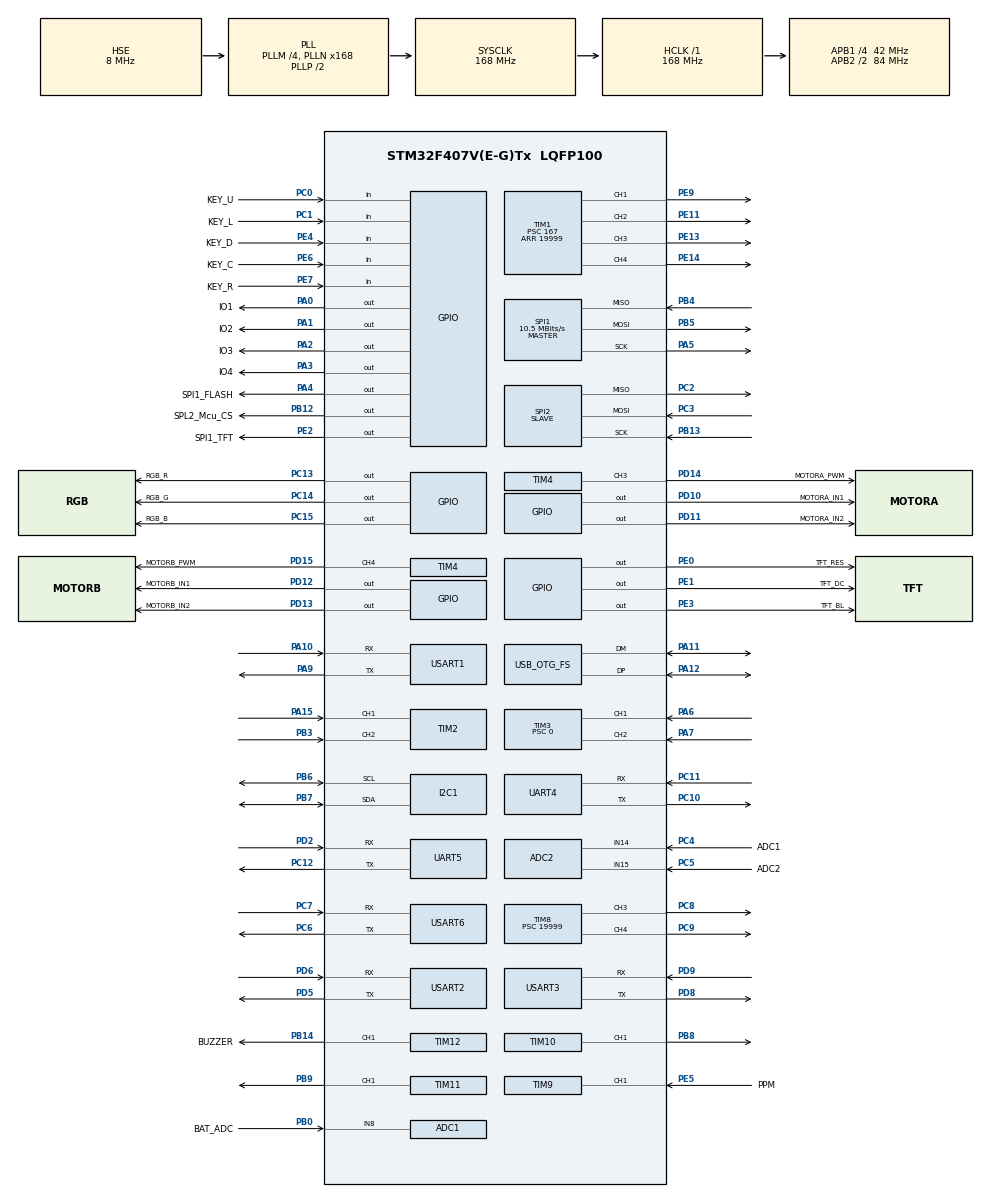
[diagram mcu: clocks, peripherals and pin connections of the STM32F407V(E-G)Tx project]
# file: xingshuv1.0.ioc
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ADC1.Channel-0\#ChannelRegularConversion=ADC_CHANNEL_8
ADC1.ClockPrescaler=ADC_CLOCK_SYNC_PCLK_DIV4
ADC1.ContinuousConvMode=ENABLE
ADC1.DMAContinuousRequests=ENABLE
ADC1.DiscontinuousConvMode=DISABLE
ADC1.NbrOfConversion=1
ADC1.NbrOfConversionFlag=1
ADC1.Rank-0\#ChannelRegularConversion=1
ADC1.SamplingTime-0\#ChannelRegularConversion=ADC_SAMPLETIME_3CYCLES
ADC1.master=1
ADC2.Channel-1\#ChannelRegularConversion=ADC_CHANNEL_15
ADC2.ClockPrescaler=ADC_CLOCK_SYNC_PCLK_DIV4
ADC2.DMAContinuousRequests=ENABLE
ADC2.NbrOfConversionFlag=1
ADC2.Rank-1\#ChannelRegularConversion=1
ADC2.SamplingTime-1\#ChannelRegularConversion=ADC_SAMPLETIME_3CYCLES
Dma.ADC1.12.Direction=DMA_PERIPH_TO_MEMORY
Dma.ADC1.12.FIFOMode=DMA_FIFOMODE_DISABLE
Dma.ADC1.12.Instance=DMA2_Stream0
Dma.ADC1.12.MemDataAlignment=DMA_MDATAALIGN_HALFWORD
Dma.ADC1.12.MemInc=DMA_MINC_ENABLE
Dma.ADC1.12.Mode=DMA_CIRCULAR
Dma.ADC1.12.PeriphDataAlignment=DMA_PDATAALIGN_HALFWORD
Dma.ADC1.12.PeriphInc=DMA_PINC_DISABLE
Dma.ADC1.12.Priority=DMA_PRIORITY_LOW
Dma.ADC2.13.Direction=DMA_PERIPH_TO_MEMORY
Dma.ADC2.13.FIFOMode=DMA_FIFOMODE_DISABLE
Dma.ADC2.13.Instance=DMA2_Stream3
Dma.ADC2.13.MemDataAlignment=DMA_MDATAALIGN_HALFWORD
Dma.ADC2.13.MemInc=DMA_MINC_ENABLE
Dma.ADC2.13.Mode=DMA_CIRCULAR
Dma.ADC2.13.PeriphDataAlignment=DMA_PDATAALIGN_HALFWORD
Dma.ADC2.13.PeriphInc=DMA_PINC_DISABLE
Dma.ADC2.13.Priority=DMA_PRIORITY_LOW
Dma.Request0=UART4_RX
Dma.Request1=UART4_TX
Dma.Request10=USART6_RX
Dma.Request11=USART6_TX
Dma.Request12=ADC1
Dma.Request13=ADC2
Dma.Request2=UART5_RX
Dma.Request3=UART5_TX
Dma.Request4=USART1_RX
Dma.Request5=USART1_TX
Dma.Request6=USART2_RX
Dma.Request7=USART2_TX
Dma.Request8=USART3_RX
Dma.Request9=USART3_TX
Dma.UART4_RX.0.Direction=DMA_PERIPH_TO_MEMORY
Dma.UART4_RX.0.FIFOMode=DMA_FIFOMODE_DISABLE
Dma.UART4_RX.0.Instance=DMA1_Stream2
Dma.UART4_RX.0.MemDataAlignment=DMA_MDATAALIGN_BYTE
Dma.UART4_RX.0.MemInc=DMA_MINC_ENABLE
Dma.UART4_RX.0.Mode=DMA_NORMAL
Dma.UART4_RX.0.PeriphDataAlignment=DMA_PDATAALIGN_BYTE
Dma.UART4_RX.0.PeriphInc=DMA_PINC_DISABLE
Dma.UART4_RX.0.Priority=DMA_PRIORITY_LOW
Dma.UART4_TX.1.Direction=DMA_MEMORY_TO_PERIPH
Dma.UART4_TX.1.FIFOMode=DMA_FIFOMODE_DISABLE
Dma.UART4_TX.1.Instance=DMA1_Stream4
Dma.UART4_TX.1.MemDataAlignment=DMA_MDATAALIGN_BYTE
Dma.UART4_TX.1.MemInc=DMA_MINC_ENABLE
Dma.UART4_TX.1.Mode=DMA_NORMAL
Dma.UART4_TX.1.PeriphDataAlignment=DMA_PDATAALIGN_BYTE
Dma.UART4_TX.1.PeriphInc=DMA_PINC_DISABLE
Dma.UART4_TX.1.Priority=DMA_PRIORITY_LOW
Dma.UART5_RX.2.Direction=DMA_PERIPH_TO_MEMORY
Dma.UART5_RX.2.FIFOMode=DMA_FIFOMODE_DISABLE
Dma.UART5_RX.2.Instance=DMA1_Stream0
Dma.UART5_RX.2.MemDataAlignment=DMA_MDATAALIGN_BYTE
Dma.UART5_RX.2.MemInc=DMA_MINC_ENABLE
Dma.UART5_RX.2.Mode=DMA_NORMAL
Dma.UART5_RX.2.PeriphDataAlignment=DMA_PDATAALIGN_BYTE
Dma.UART5_RX.2.PeriphInc=DMA_PINC_DISABLE
Dma.UART5_RX.2.Priority=DMA_PRIORITY_LOW
Dma.UART5_TX.3.Direction=DMA_MEMORY_TO_PERIPH
Dma.UART5_TX.3.FIFOMode=DMA_FIFOMODE_DISABLE
Dma.UART5_TX.3.Instance=DMA1_Stream7
Dma.UART5_TX.3.MemDataAlignment=DMA_MDATAALIGN_BYTE
Dma.UART5_TX.3.MemInc=DMA_MINC_ENABLE
Dma.UART5_TX.3.Mode=DMA_NORMAL
Dma.UART5_TX.3.PeriphDataAlignment=DMA_PDATAALIGN_BYTE
Dma.UART5_TX.3.PeriphInc=DMA_PINC_DISABLE
Dma.UART5_TX.3.Priority=DMA_PRIORITY_LOW
Dma.USART1_RX.4.Direction=DMA_PERIPH_TO_MEMORY
Dma.USART1_RX.4.FIFOMode=DMA_FIFOMODE_DISABLE
Dma.USART1_RX.4.Instance=DMA2_Stream2
Dma.USART1_RX.4.MemDataAlignment=DMA_MDATAALIGN_BYTE
Dma.USART1_RX.4.MemInc=DMA_MINC_ENABLE
Dma.USART1_RX.4.Mode=DMA_NORMAL
Dma.USART1_RX.4.PeriphDataAlignment=DMA_PDATAALIGN_BYTE
Dma.USART1_RX.4.PeriphInc=DMA_PINC_DISABLE
Dma.USART1_RX.4.Priority=DMA_PRIORITY_LOW
Dma.USART1_TX.5.Direction=DMA_MEMORY_TO_PERIPH
Dma.USART1_TX.5.FIFOMode=DMA_FIFOMODE_DISABLE
Dma.USART1_TX.5.Instance=DMA2_Stream7
Dma.USART1_TX.5.MemDataAlignment=DMA_MDATAALIGN_BYTE
Dma.USART1_TX.5.MemInc=DMA_MINC_ENABLE
Dma.USART1_TX.5.Mode=DMA_NORMAL
Dma.USART1_TX.5.PeriphDataAlignment=DMA_PDATAALIGN_BYTE
Dma.USART1_TX.5.PeriphInc=DMA_PINC_DISABLE
Dma.USART1_TX.5.Priority=DMA_PRIORITY_LOW
Dma.USART2_RX.6.Direction=DMA_PERIPH_TO_MEMORY
Dma.USART2_RX.6.FIFOMode=DMA_FIFOMODE_DISABLE
Dma.USART2_RX.6.Instance=DMA1_Stream5
Dma.USART2_RX.6.MemDataAlignment=DMA_MDATAALIGN_BYTE
Dma.USART2_RX.6.MemInc=DMA_MINC_ENABLE
Dma.USART2_RX.6.Mode=DMA_NORMAL
Dma.USART2_RX.6.PeriphDataAlignment=DMA_PDATAALIGN_BYTE
Dma.USART2_RX.6.PeriphInc=DMA_PINC_DISABLE
Dma.USART2_RX.6.Priority=DMA_PRIORITY_LOW
Dma.USART2_TX.7.Direction=DMA_MEMORY_TO_PERIPH
Dma.USART2_TX.7.FIFOMode=DMA_FIFOMODE_DISABLE
Dma.USART2_TX.7.Instance=DMA1_Stream6
Dma.USART2_TX.7.MemDataAlignment=DMA_MDATAALIGN_BYTE
Dma.USART2_TX.7.MemInc=DMA_MINC_ENABLE
Dma.USART2_TX.7.Mode=DMA_NORMAL
Dma.USART2_TX.7.PeriphDataAlignment=DMA_PDATAALIGN_BYTE
Dma.USART2_TX.7.PeriphInc=DMA_PINC_DISABLE
Dma.USART2_TX.7.Priority=DMA_PRIORITY_LOW
Dma.USART3_RX.8.Direction=DMA_PERIPH_TO_MEMORY
Dma.USART3_RX.8.FIFOMode=DMA_FIFOMODE_DISABLE
Dma.USART3_RX.8.Instance=DMA1_Stream1
Dma.USART3_RX.8.MemDataAlignment=DMA_MDATAALIGN_BYTE
Dma.USART3_RX.8.MemInc=DMA_MINC_ENABLE
Dma.USART3_RX.8.Mode=DMA_NORMAL
Dma.USART3_RX.8.PeriphDataAlignment=DMA_PDATAALIGN_BYTE
Dma.USART3_RX.8.PeriphInc=DMA_PINC_DISABLE
Dma.USART3_RX.8.Priority=DMA_PRIORITY_LOW
Dma.USART3_TX.9.Direction=DMA_MEMORY_TO_PERIPH
Dma.USART3_TX.9.FIFOMode=DMA_FIFOMODE_DISABLE
Dma.USART3_TX.9.Instance=DMA1_Stream3
Dma.USART3_TX.9.MemDataAlignment=DMA_MDATAALIGN_BYTE
Dma.USART3_TX.9.MemInc=DMA_MINC_ENABLE
Dma.USART3_TX.9.Mode=DMA_NORMAL
Dma.USART3_TX.9.PeriphDataAlignment=DMA_PDATAALIGN_BYTE
Dma.USART3_TX.9.PeriphInc=DMA_PINC_DISABLE
Dma.USART3_TX.9.Priority=DMA_PRIORITY_LOW
Dma.USART6_RX.10.Direction=DMA_PERIPH_TO_MEMORY
Dma.USART6_RX.10.FIFOMode=DMA_FIFOMODE_DISABLE
Dma.USART6_RX.10.Instance=DMA2_Stream1
Dma.USART6_RX.10.MemDataAlignment=DMA_MDATAALIGN_BYTE
Dma.USART6_RX.10.MemInc=DMA_MINC_ENABLE
Dma.USART6_RX.10.Mode=DMA_NORMAL
Dma.USART6_RX.10.PeriphDataAlignment=DMA_PDATAALIGN_BYTE
Dma.USART6_RX.10.PeriphInc=DMA_PINC_DISABLE
Dma.USART6_RX.10.Priority=DMA_PRIORITY_LOW
Dma.USART6_TX.11.Direction=DMA_MEMORY_TO_PERIPH
Dma.USART6_TX.11.FIFOMode=DMA_FIFOMODE_DISABLE
Dma.USART6_TX.11.Instance=DMA2_Stream6
Dma.USART6_TX.11.MemDataAlignment=DMA_MDATAALIGN_BYTE
Dma.USART6_TX.11.MemInc=DMA_MINC_ENABLE
Dma.USART6_TX.11.Mode=DMA_NORMAL
Dma.USART6_TX.11.PeriphDataAlignment=DMA_PDATAALIGN_BYTE
Dma.USART6_TX.11.PeriphInc=DMA_PINC_DISABLE
Dma.USART6_TX.11.Priority=DMA_PRIORITY_LOW
FREERTOS.INCLUDE_vTaskDelayUntil=1
FREERTOS.Tasks01=RGBTask,-3,128,RGB_Task_Proc,Default,NULL,Dynamic,NULL,NULL;KeyTask,-3,128,Key_Task_Proc,Default,NULL,Dynamic,NULL,NULL;K210Task,-3,128,K210_Task_Proc,Default,NULL,Dynamic,NULL,NULL;OpenMVTask,-3,128,OpenMV_Task_Proc,Default,NULL,Dynamic,NULL,NULL;SbusTask,-3,128,Sbus_Task_Proc,Default,NULL,Dynamic,NULL,NULL;ServoTask,-3,128,Servo_Task_Proc,Default,NULL,Dynamic,NULL,NULL;MPU6050Task,-3,256,MPU6050_Task_Proc,Default,NULL,Dynamic,NULL,NULL;PCTask,-3,128,PC_Task_Proc,Default,NULL,Dynamic,NULL,NULL;LCDTask,-3,256,LCD_Task_Proc,Default,NULL,Dynamic,NULL,NULL;BuzzerTask,-3,128,Buzzer_Task_Proc,Default,NULL,Dynamic,NULL,NULL;FlashTask,-3,128,Flash_Task_Proc,Default,NULL,Dynamic,NULL,NULL;MotorTask,-3,128,Motor_Task_Proc,Default,NULL,Dynamic,NULL,NULL;EncoderTask,-3,128,Encoder_Task_Proc,Default,NULL,Dynamic,NULL,NULL;BleTask,-3,128,Ble_Task_Proc,Default,NULL,Dynamic,NULL,NULL
FREERTOS.configGENERATE_RUN_TIME_STATS=1
FREERTOS.configUSE_APPLICATION_TASK_TAG=1
FREERTOS.configUSE_STATS_FORMATTING_FUNCTIONS=1
FREERTOS.configUSE_TIMERS=1
FREERTOS.configUSE_TRACE_FACILITY=1
I2C1.I2C_Mode=I2C_Standard
Mcu.Family=STM32F4
Mcu.Name=STM32F407V(E-G)Tx
Mcu.Package=LQFP100
NVIC.ADC_IRQn=true\:5\:0\:false\:false\:true\:true\:true\:true\:true
NVIC.DMA1_Stream3_IRQn=true\:5\:0\:false\:false\:true\:true\:false\:true\:true
NVIC.DMA1_Stream4_IRQn=true\:5\:0\:false\:false\:true\:true\:false\:true\:true
NVIC.DMA1_Stream6_IRQn=true\:5\:0\:false\:false\:true\:true\:false\:true\:true
NVIC.DMA1_Stream7_IRQn=true\:5\:0\:false\:false\:true\:true\:false\:true\:true
NVIC.DMA2_Stream0_IRQn=true\:5\:0\:false\:false\:true\:true\:false\:true\:true
NVIC.DMA2_Stream3_IRQn=true\:5\:0\:false\:false\:true\:true\:false\:true\:true
NVIC.DMA2_Stream6_IRQn=true\:5\:0\:false\:false\:true\:true\:false\:true\:true
NVIC.DMA2_Stream7_IRQn=true\:5\:0\:false\:false\:true\:true\:false\:true\:true
NVIC.I2C1_ER_IRQn=true\:5\:0\:false\:false\:true\:true\:true\:true\:true
NVIC.I2C1_EV_IRQn=true\:5\:0\:false\:false\:true\:true\:true\:true\:true
NVIC.PriorityGroup=NVIC_PRIORITYGROUP_4
NVIC.SPI1_IRQn=true\:5\:0\:false\:false\:true\:true\:true\:true\:true
NVIC.SPI2_IRQn=true\:5\:0\:false\:false\:true\:true\:true\:true\:true
NVIC.TIM1_BRK_TIM9_IRQn=true\:5\:0\:false\:false\:true\:true\:true\:true\:true
NVIC.TIM1_CC_IRQn=true\:5\:0\:false\:false\:true\:true\:true\:true\:true
NVIC.TIM3_IRQn=true\:5\:0\:false\:false\:true\:true\:true\:true\:true
NVIC.TIM6_DAC_IRQn=true\:15\:0\:false\:false\:true\:false\:false\:true\:true
NVIC.TIM7_IRQn=true\:5\:0\:false\:false\:true\:true\:true\:true\:true
NVIC.TIM8_UP_TIM13_IRQn=true\:5\:0\:false\:false\:true\:true\:true\:true\:true
NVIC.TimeBase=TIM6_DAC_IRQn
NVIC.TimeBaseIP=TIM6
NVIC.UART4_IRQn=true\:5\:0\:false\:false\:true\:true\:true\:true\:true
NVIC.UART5_IRQn=true\:5\:0\:false\:false\:true\:true\:true\:true\:true
NVIC.USART1_IRQn=true\:5\:0\:false\:false\:true\:true\:true\:true\:true
NVIC.USART2_IRQn=true\:5\:0\:false\:false\:true\:true\:true\:true\:true
NVIC.USART3_IRQn=true\:5\:0\:false\:false\:true\:true\:true\:true\:true
NVIC.USART6_IRQn=true\:5\:0\:false\:false\:true\:true\:true\:true\:true
PA0-WKUP.GPIO_Label=IO1
PA0-WKUP.Signal=GPIO_Output
PA1.GPIO_Label=IO2
PA1.Signal=GPIO_Output
PA10.Mode=Asynchronous
PA10.Signal=USART1_RX
PA11.Mode=Device_Only
PA11.Signal=USB_OTG_FS_DM
PA12.Mode=Device_Only
PA12.Signal=USB_OTG_FS_DP
PA13.Mode=Serial_Wire
PA13.Signal=SYS_JTMS-SWDIO
PA14.Mode=Serial_Wire
PA14.Signal=SYS_JTCK-SWCLK
PA15.Signal=S_TIM2_CH1_ETR
PA2.GPIO_Label=IO3
PA2.Signal=GPIO_Output
PA3.GPIO_Label=IO4
PA3.GPIO_Speed=GPIO_SPEED_FREQ_VERY_HIGH
PA3.Signal=GPIO_Output
PA4.GPIO_Label=SPI1_FLASH
PA4.Signal=GPIO_Output
PA5.Mode=Full_Duplex_Master
PA5.Signal=SPI1_SCK
PA6.Signal=S_TIM3_CH1
PA7.Signal=S_TIM3_CH2
PA9.Mode=Asynchronous
PA9.Signal=USART1_TX
PB0.GPIO_Label=BAT_ADC
PB0.Signal=ADCx_IN8
PB12.GPIO_Label=SPL2_Mcu_CS
PB12.Signal=GPIO_Output
PB13.Mode=Full_Duplex_Slave
PB13.Signal=SPI2_SCK
PB14.GPIO_Label=BUZZER
PB14.Signal=S_TIM12_CH1
PB3.Signal=S_TIM2_CH2
PB4.Mode=Full_Duplex_Master
PB4.Signal=SPI1_MISO
PB5.Mode=Full_Duplex_Master
PB5.Signal=SPI1_MOSI
PB6.Mode=I2C
PB6.Signal=I2C1_SCL
PB7.Mode=I2C
PB7.Signal=I2C1_SDA
PB8.Signal=S_TIM10_CH1
PB9.Signal=S_TIM11_CH1
PC0.GPIO_Label=KEY_U
PC0.GPIO_PuPd=GPIO_PULLUP
PC0.Signal=GPIO_Input
PC1.GPIO_Label=KEY_L
PC1.GPIO_PuPd=GPIO_PULLUP
PC1.Signal=GPIO_Input
PC10.Mode=Asynchronous
PC10.Signal=UART4_TX
PC11.Mode=Asynchronous
PC11.Signal=UART4_RX
PC12.Mode=Asynchronous
PC12.Signal=UART5_TX
PC13-ANTI_TAMP.GPIO_Label=RGB_R
PC13-ANTI_TAMP.GPIO_PuPd=GPIO_NOPULL
PC13-ANTI_TAMP.Signal=GPIO_Output
PC14-OSC32_IN.GPIO_Label=RGB_G
PC14-OSC32_IN.GPIO_PuPd=GPIO_NOPULL
PC14-OSC32_IN.Signal=GPIO_Output
PC15-OSC32_OUT.GPIO_Label=RGB_B
PC15-OSC32_OUT.GPIO_PuPd=GPIO_NOPULL
PC15-OSC32_OUT.Signal=GPIO_Output
PC2.Mode=Full_Duplex_Slave
PC2.Signal=SPI2_MISO
PC3.Mode=Full_Duplex_Slave
PC3.Signal=SPI2_MOSI
PC4.GPIO_Label=ADC1
PC4.Signal=ADCx_IN14
PC5.GPIO_Label=ADC2
PC5.Signal=ADCx_IN15
PC6.Mode=Asynchronous
PC6.Signal=USART6_TX
PC7.Mode=Asynchronous
PC7.Signal=USART6_RX
PC8.Signal=S_TIM8_CH3
PC9.Signal=S_TIM8_CH4
PD10.GPIO_Label=MOTORA_IN1
PD10.Signal=GPIO_Output
PD11.GPIO_Label=MOTORA_IN2
PD11.Signal=GPIO_Output
PD12.GPIO_Label=MOTORB_IN1
PD12.Signal=GPIO_Output
PD13.GPIO_Label=MOTORB_IN2
PD13.Signal=GPIO_Output
PD14.GPIO_Label=MOTORA_PWM
PD14.Signal=S_TIM4_CH3
PD15.GPIO_Label=MOTORB_PWM
PD15.Signal=S_TIM4_CH4
PD2.Mode=Asynchronous
PD2.Signal=UART5_RX
PD5.Mode=Asynchronous
PD5.Signal=USART2_TX
PD6.Mode=Asynchronous
PD6.Signal=USART2_RX
PD8.Mode=Asynchronous
PD8.Signal=USART3_TX
PD9.Mode=Asynchronous
PD9.Signal=USART3_RX
PE0.GPIO_Label=TFT_RES
PE0.Signal=GPIO_Output
PE1.GPIO_Label=TFT_DC
PE1.Signal=GPIO_Output
PE11.Signal=S_TIM1_CH2
PE13.Signal=S_TIM1_CH3
PE14.Signal=S_TIM1_CH4
PE2.GPIO_Label=SPI1_TFT
PE2.Signal=GPIO_Output
PE3.GPIO_Label=TFT_BL
PE3.Signal=GPIO_Output
PE4.GPIO_Label=KEY_D
PE4.GPIO_PuPd=GPIO_PULLUP
PE4.Signal=GPIO_Input
PE5.GPIO_Label=PPM
PE5.Signal=S_TIM9_CH1
PE6.GPIO_Label=KEY_C
PE6.GPIO_PuPd=GPIO_PULLUP
PE6.Signal=GPIO_Input
PE7.GPIO_Label=KEY_R
PE7.GPIO_PuPd=GPIO_PULLUP
PE7.Signal=GPIO_Input
PE9.Signal=S_TIM1_CH1
PH0-OSC_IN.Mode=HSE-External-Oscillator
PH0-OSC_IN.Signal=RCC_OSC_IN
PH1-OSC_OUT.Mode=HSE-External-Oscillator
PH1-OSC_OUT.Signal=RCC_OSC_OUT
ProjectManager.HeapSize=0x200
ProjectManager.StackSize=0x400
ProjectManager.TargetToolchain=MDK-ARM V5.32
RCC.48MHZClocksFreq_Value=48000000
RCC.AHBFreq_Value=168000000
RCC.APB1CLKDivider=RCC_HCLK_DIV4
RCC.APB1Freq_Value=42000000
RCC.APB1TimFreq_Value=84000000
RCC.APB2CLKDivider=RCC_HCLK_DIV2
RCC.APB2Freq_Value=84000000
RCC.APB2TimFreq_Value=168000000
RCC.CortexFreq_Value=168000000
RCC.HCLKFreq_Value=168000000
RCC.HSE_VALUE=8000000
RCC.HSI_VALUE=16000000
RCC.LSE_VALUE=32768
RCC.PLLM=4
RCC.PLLN=168
RCC.PLLQ=7
RCC.SYSCLKFreq_VALUE=168000000
RCC.SYSCLKSource=RCC_SYSCLKSOURCE_PLLCLK
RCC.VCOOutputFreq_Value=336000000
SH.ADCx_IN14.0=ADC2_IN14,IN14
SH.ADCx_IN15.0=ADC2_IN15,IN15
SH.ADCx_IN8.0=ADC1_IN8,IN8
SH.S_TIM10_CH1.0=TIM10_CH1,PWM Generation1 CH1
SH.S_TIM11_CH1.0=TIM11_CH1,PWM Generation1 CH1
SH.S_TIM12_CH1.0=TIM12_CH1,PWM Generation1 CH1
SH.S_TIM1_CH1.0=TIM1_CH1,PWM Generation1 CH1
SH.S_TIM1_CH2.0=TIM1_CH2,PWM Generation2 CH2
SH.S_TIM1_CH3.0=TIM1_CH3,PWM Generation3 CH3
SH.S_TIM1_CH4.0=TIM1_CH4,PWM Generation4 CH4
SH.S_TIM2_CH1_ETR.0=TIM2_CH1,Encoder_Interface
SH.S_TIM2_CH2.0=TIM2_CH2,Encoder_Interface
SH.S_TIM3_CH1.0=TIM3_CH1,Encoder_Interface
SH.S_TIM3_CH2.0=TIM3_CH2,Encoder_Interface
SH.S_TIM4_CH3.0=TIM4_CH3,PWM Generation3 CH3
SH.S_TIM4_CH4.0=TIM4_CH4,PWM Generation4 CH4
SH.S_TIM8_CH3.0=TIM8_CH3,PWM Generation3 CH3
SH.S_TIM8_CH4.0=TIM8_CH4,PWM Generation4 CH4
SH.S_TIM9_CH1.0=TIM9_CH1,Input_Capture1_from_TI1
SH.S_TIM9_CH1.1=TIM9_CH1,TriggerSource_TI1FP1
SPI1.BaudRatePrescaler=SPI_BAUDRATEPRESCALER_8
SPI1.CalculateBaudRate=10.5 MBits/s
SPI1.Direction=SPI_DIRECTION_2LINES
SPI1.Mode=SPI_MODE_MASTER
SPI1.VirtualType=VM_MASTER
SPI2.CRCCalculation=SPI_CRCCALCULATION_DISABLE
SPI2.Direction=SPI_DIRECTION_2LINES
SPI2.Mode=SPI_MODE_SLAVE
SPI2.VirtualType=VM_SLAVE
TIM1.Channel-PWM\ Generation1\ CH1=TIM_CHANNEL_1
TIM1.Channel-PWM\ Generation2\ CH2=TIM_CHANNEL_2
TIM1.Channel-PWM\ Generation3\ CH3=TIM_CHANNEL_3
TIM1.Channel-PWM\ Generation4\ CH4=TIM_CHANNEL_4
TIM1.Period=19999
TIM1.Prescaler=167
TIM10.Channel=TIM_CHANNEL_1
TIM10.Period=19999
TIM10.Prescaler=167
TIM11.Channel=TIM_CHANNEL_1
TIM11.Period=19999
TIM11.Prescaler=167
TIM12.Channel-PWM\ Generation1\ CH1=TIM_CHANNEL_1
TIM12.Prescaler=167
TIM13.Period=999
TIM13.Prescaler=167
TIM2.AutoReloadPreload=TIM_AUTORELOAD_PRELOAD_ENABLE
TIM2.EncoderMode=TIM_ENCODERMODE_TI12
TIM3.AutoReloadPreload=TIM_AUTORELOAD_PRELOAD_ENABLE
TIM3.EncoderMode=TIM_ENCODERMODE_TI12
TIM3.Period=65535
TIM3.Prescaler=0
TIM4.Channel-PWM\ Generation3\ CH3=TIM_CHANNEL_3
TIM4.Channel-PWM\ Generation4\ CH4=TIM_CHANNEL_4
TIM4.Period=9999
TIM4.Prescaler=83
TIM7.Period=99
TIM7.Prescaler=83
TIM8.Channel-PWM\ Generation3\ CH3=TIM_CHANNEL_3
TIM8.Channel-PWM\ Generation4\ CH4=TIM_CHANNEL_4
TIM8.Prescaler=19999
TIM9.AutoReloadPreload=TIM_AUTORELOAD_PRELOAD_ENABLE
TIM9.Channel-Input_Capture1_from_TI1=TIM_CHANNEL_1
TIM9.Channel-Input_Capture2_from_TI1_63=TIM_CHANNEL_2
TIM9.Prescaler=167
UART4.VirtualMode=Asynchronous
UART5.VirtualMode=Asynchronous
USART1.VirtualMode=VM_ASYNC
USART2.VirtualMode=VM_ASYNC
USART3.VirtualMode=VM_ASYNC
USART6.VirtualMode=VM_ASYNC
USB_OTG_FS.VirtualMode=Device_Only
VP_FREERTOS_VS_CMSIS_V1.Mode=CMSIS_V1
VP_SYS_VS_tim6.Mode=TIM6
VP_TIM10_VS_ClockSourceINT.Mode=Enable_Timer
VP_TIM11_VS_ClockSourceINT.Mode=Enable_Timer
VP_TIM13_VS_ClockSourceINT.Mode=Enable_Timer
VP_TIM7_VS_ClockSourceINT.Mode=Enable_Timer
VP_TIM9_VS_ControllerModeReset.Mode=Reset Mode
VP_TIM9_VS_indirect_ch1.Mode=Input_Capture2_from_TI1_63
board=custom

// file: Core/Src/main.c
/* USER CODE BEGIN Header */
/**
  ******************************************************************************
  * @file           : main.c
  * @brief          : Main program body
  ******************************************************************************
  * @attention
  *
  * Copyright (c) 2023 STMicroelectronics.
  * All rights reserved.
  *
  * This software is licensed under terms that can be found in the LICENSE file
  * in the root directory of this software component.
  * If no LICENSE file comes with this software, it is provided AS-IS.
  *
  ******************************************************************************
  */
/* USER CODE END Header */
#include "main.h"
#include "cmsis_os.h"
#include "adc.h"
#include "dma.h"
#include "i2c.h"
#include "spi.h"
#include "tim.h"
#include "usart.h"
#include "usb_otg.h"
#include "gpio.h"

/* USER CODE BEGIN Includes */
#include "lcd_proc.h"
#include "lcd_init.h"
#include "flash_proc.h"
#include "sys.h"
#include "sbus_proc.h"
#include "motor_proc.h"
#include "FreeRTOS.h"
#include "task.h"
#include "openmv_proc.h"
//#include  "trcRecorder.h"
/* USER CODE END Includes */

/* USER CODE BEGIN PM */

//串口接受缓冲
u8 Uart1Rx[MAX_UART_RX_NUM];
u8 Uart2Rx[MAX_UART_RX_NUM];
u8 Uart3Rx[MAX_UART_RX_NUM];
u8 Uart4Rx[MAX_UART_RX_NUM];
u8 Uart5Rx[MAX_UART_RX_NUM];
u8 Uart6Rx[MAX_UART_RX_NUM];

//串口发送缓冲
u8 RunTimeFlag = 0;
u8 TaskListFlag = 0;
char InfoBuffer[1000];
u8 Uart1Tx[1000];
u8 Uart2Tx[MAX_UART_TX_NUM];
u8 Uart3Tx[MAX_UART_TX_NUM];
u8 Uart4Tx[MAX_UART_TX_NUM];
u8 Uart5Tx[MAX_UART_TX_NUM];
u8 Uart6Tx[MAX_UART_TX_NUM];

u32 TIM12Count;       //freertos 时间调度统计
/* USER CODE END PM */

void SystemClock_Config(void);
void MX_FREERTOS_Init(void);

int main(void)
{

  /* MCU Configuration--------------------------------------------------------*/

  /* Reset of all peripherals, Initializes the Flash interface and the Systick. */
  HAL_Init();

  /* Configure the system clock */
  SystemClock_Config();

  /* Initialize all configured peripherals */
  MX_GPIO_Init();
  MX_DMA_Init();
  MX_TIM1_Init();
  MX_TIM2_Init();
  MX_TIM3_Init();
  MX_TIM4_Init();
  MX_TIM7_Init();
  MX_TIM8_Init();
  MX_TIM9_Init();
  MX_I2C1_Init();
  MX_SPI1_Init();
  MX_SPI2_Init();
  MX_UART4_Init();
  MX_UART5_Init();
  MX_USART1_UART_Init();
  MX_USART2_UART_Init();
  MX_USART3_UART_Init();
  MX_TIM10_Init();
  MX_TIM11_Init();
  MX_TIM12_Init();
  MX_USART6_UART_Init();
  MX_ADC1_Init();
  MX_ADC2_Init();
  MX_USB_OTG_FS_PCD_Init();
  MX_TIM13_Init();
  /* USER CODE BEGIN 2 */
//	vTraceEnable(TRC_INIT);          /
 //拉高spi片选
  HAL_GPIO_WritePin(SPI1_FLASH_GPIO_Port, SPI1_FLASH_Pin, GPIO_PIN_SET);
	HAL_GPIO_WritePin(GPIOE,SPI1_TFT_Pin, GPIO_PIN_SET);
	//点亮lcd背屏幕
	HAL_GPIO_WritePin(GPIOE,TFT_BL_Pin, GPIO_PIN_SET);

	//HAL_Delay(100);

//	//LED0=0;
//	LCD_ShowString(30,30,"XCJK",WHITE,BLACK,32,0);
//	LCD_ShowString(30,62,"RTOS",WHITE,BLACK,32,0);

	//串口开启中断
	HAL_UARTEx_ReceiveToIdle_DMA(&huart1, Uart1Rx, MAX_UART_RX_NUM);
	HAL_UARTEx_ReceiveToIdle_DMA(&huart2, Uart2Rx, MAX_UART_RX_NUM);
	HAL_UARTEx_ReceiveToIdle_DMA(&huart3, Uart3Rx, MAX_UART_RX_NUM);
	HAL_UARTEx_ReceiveToIdle_DMA(&huart4, Uart4Rx, MAX_UART_RX_NUM);
	HAL_UARTEx_ReceiveToIdle_DMA(&huart5, Uart5Rx, MAX_UART_RX_NUM);
	HAL_UARTEx_ReceiveToIdle_DMA(&huart6, Uart6Rx, MAX_UART_RX_NUM);
  /* USER CODE END 2 */

  /* Call init function for freertos objects (in freertos.c) */
  MX_FREERTOS_Init();

  /* Start scheduler */
  osKernelStart();
  /* We should never get here as control is now taken by the scheduler */
  /* Infinite loop */
  while (1)
  {

  }
}

void SystemClock_Config(void)
{
  RCC_OscInitTypeDef RCC_OscInitStruct = {0};
  RCC_ClkInitTypeDef RCC_ClkInitStruct = {0};

  /** Configure the main internal regulator output voltage
  */
  __HAL_RCC_PWR_CLK_ENABLE();
  __HAL_PWR_VOLTAGESCALING_CONFIG(PWR_REGULATOR_VOLTAGE_SCALE1);

  /** Initializes the RCC Oscillators according to the specified parameters
  * in the RCC_OscInitTypeDef structure.
  */
  RCC_OscInitStruct.OscillatorType = RCC_OSCILLATORTYPE_HSE;
  RCC_OscInitStruct.HSEState = RCC_HSE_ON;
  RCC_OscInitStruct.PLL.PLLState = RCC_PLL_ON;
  RCC_OscInitStruct.PLL.PLLSource = RCC_PLLSOURCE_HSE;
  RCC_OscInitStruct.PLL.PLLM = 4;
  RCC_OscInitStruct.PLL.PLLN = 168;
  RCC_OscInitStruct.PLL.PLLP = RCC_PLLP_DIV2;
  RCC_OscInitStruct.PLL.PLLQ = 7;
  if (HAL_RCC_OscConfig(&RCC_OscInitStruct) != HAL_OK)
  {
    Error_Handler();
  }

  /** Initializes the CPU, AHB and APB buses clocks
  */
  RCC_ClkInitStruct.ClockType = RCC_CLOCKTYPE_HCLK|RCC_CLOCKTYPE_SYSCLK
                              |RCC_CLOCKTYPE_PCLK1|RCC_CLOCKTYPE_PCLK2;
  RCC_ClkInitStruct.SYSCLKSource = RCC_SYSCLKSOURCE_PLLCLK;
  RCC_ClkInitStruct.AHBCLKDivider = RCC_SYSCLK_DIV1;
  RCC_ClkInitStruct.APB1CLKDivider = RCC_HCLK_DIV4;
  RCC_ClkInitStruct.APB2CLKDivider = RCC_HCLK_DIV2;

  if (HAL_RCC_ClockConfig(&RCC_ClkInitStruct, FLASH_LATENCY_5) != HAL_OK)
  {
    Error_Handler();
  }
}

/* USER CODE BEGIN 4 */

/******************************************************************************
      函数说明：串口中断回调
      入口数据：无
      返回值：  无
******************************************************************************/

void HAL_UARTEx_RxEventCallback(UART_HandleTypeDef *huart, uint16_t Size)
{
	if(huart->Instance == USART1)
	{

		HAL_UART_Transmit_DMA(&huart1, Uart1Rx, Size);
		if(Uart1Rx[0] == 'l' && Uart1Rx[1] == 's')
					TaskListFlag = 1;
		if(Uart1Rx[0] == 't' && Uart1Rx[1] == 's')
					RunTimeFlag = 1;

		HAL_UARTEx_ReceiveToIdle_DMA(&huart1, Uart1Rx, MAX_UART_RX_NUM);
	}
	else if(huart->Instance == USART2)
	{
		HAL_UART_Transmit_DMA(&huart2, Uart2Rx, Size);
		HAL_UARTEx_ReceiveToIdle_DMA(&huart2, Uart2Rx, MAX_UART_RX_NUM);
	}
	else if(huart->Instance == USART3)
	{

		HAL_UART_Transmit_DMA(&huart3, Uart3Rx, Size);
		HAL_UARTEx_ReceiveToIdle_DMA(&huart3, Uart3Rx, MAX_UART_RX_NUM);
	}
	else if(huart->Instance == UART4)
	{
		HAL_UART_Transmit_DMA(&huart4, Uart4Rx, Size);
		HAL_UARTEx_ReceiveToIdle_DMA(&huart4, Uart4Rx, MAX_UART_RX_NUM);
	}
	else if(huart->Instance == UART5)
	{
		HAL_UART_Transmit_DMA(&huart5, Uart5Rx, Size);
		HAL_UARTEx_ReceiveToIdle_DMA(&huart5, Uart5Rx, MAX_UART_RX_NUM);
	}
	else if(huart->Instance == USART6)
	{
		Sbus_Uart6_IDLE_Proc(Size);           //遥控器
		HAL_UARTEx_ReceiveToIdle_DMA(&huart6, Uart6Rx, MAX_UART_RX_NUM);
	}

}

extern u32 TIM7Count;

/* USER CODE END 4 */

void HAL_TIM_PeriodElapsedCallback(TIM_HandleTypeDef *htim)
{
  if (htim->Instance == TIM6) {
    HAL_IncTick();
  }
  /* USER CODE BEGIN Callback 1 */
	if(htim->Instance == TIM13)//FREERTOS 时间统计
	{
	 TIM12Count++;
	}

  /* USER CODE END Callback 1 */
}

void Error_Handler(void)
{
  __disable_irq();
  while (1)
  {
  }
}

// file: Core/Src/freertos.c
/* USER CODE BEGIN Header */
/**
  ******************************************************************************
  * File Name          : freertos.c
  * Description        : Code for freertos applications
  ******************************************************************************
  * @attention
  *
  * Copyright (c) 2023 STMicroelectronics.
  * All rights reserved.
  *
  * This software is licensed under terms that can be found in the LICENSE file
  * in the root directory of this software component.
  * If no LICENSE file comes with this software, it is provided AS-IS.
  *
  ******************************************************************************
  */
/* USER CODE END Header */

#include "FreeRTOS.h"
#include "task.h"
#include "main.h"
#include "cmsis_os.h"

/* USER CODE BEGIN Includes */
//#define portCONFIGURE_TIMER_FOR_RUN_TIME_STATS() ConfigureTimeForRunTimeStats()
//#define portGET_RUN_TIME_COUNTER_VALUE() FreeRTOSRunTimeTicks

#define XC_FREERTOS_MAKE_FLAG //�����־λ ���׽��cube�Ĵ�����Ҫɾ������

/* USER CODE END Includes */

/* USER CODE BEGIN PTD */
#include "tim.h"
//#include "trcConfig.h"
//#include "trcKernelPort.h"
/* USER CODE END PTD */

/* USER CODE BEGIN PD */
extern u32 TIM12Count;
/* USER CODE END PD */

/* USER CODE BEGIN Variables */
extern	osThreadId RGBTaskHandle;
extern	osThreadId BuzzerTaskHandle;
extern	osThreadId FlashTaskHandle;
extern  osThreadId LCDTaskHandle;
extern osThreadId KeyTaskHandle;
extern osThreadId K210TaskHandle;
extern osThreadId OpenMVTaskHandle;
extern osThreadId PCTaskHandle;
extern osThreadId SbusTaskHandle;
extern osThreadId ServoTaskHandle;
extern osThreadId MotorTaskHandle;
extern osThreadId EncoderTaskHandle;
extern osThreadId MPU6050TaskHandle;
extern osThreadId BleTaskHandle;
#ifndef XC_FREERTOS_MAKE_FLAG
/* USER CODE END Variables */
osThreadId RGBTaskHandle;
osThreadId KeyTaskHandle;
osThreadId K210TaskHandle;
osThreadId OpenMVTaskHandle;
osThreadId SbusTaskHandle;
osThreadId ServoTaskHandle;
osThreadId MPU6050TaskHandle;
osThreadId PCTaskHandle;
osThreadId LCDTaskHandle;
osThreadId BuzzerTaskHandle;
osThreadId FlashTaskHandle;
osThreadId MotorTaskHandle;
osThreadId EncoderTaskHandle;
osThreadId BleTaskHandle;

/* USER CODE BEGIN FunctionPrototypes */
#endif
extern void RGB_Task_Proc(void const * argument);
extern void Buzzer_Task_Proc(void const * argument);
extern void Flash_Task_Proc(void const * argument);
extern void LCD_Task_Proc(void const * argument);
extern void Key_Task_Proc(void const * argument);
extern void K210_Task_Proc(void const * argument);
extern void OpenMV_Task_Proc(void const * argument);
extern void PC_Task_Proc(void const * argument);
extern void Sbus_Task_Proc(void const * argument);
extern void Servo_Task_Proc(void const * argument);
extern void Motor_Task_Proc(void const * argument);
extern void Encoder_Task_Proc(void const * argument);
extern void MPU6050_Task_Proc(void const * argument);
extern void Ble_Task_Proc(void const * argument);

void MX_FREERTOS_Init(void); /* (MISRA C 2004 rule 8.1) */

/* GetIdleTaskMemory prototype (linked to static allocation support) */
void vApplicationGetIdleTaskMemory( StaticTask_t **ppxIdleTaskTCBBuffer, StackType_t **ppxIdleTaskStackBuffer, uint32_t *pulIdleTaskStackSize );

/* GetTimerTaskMemory prototype (linked to static allocation support) */
void vApplicationGetTimerTaskMemory( StaticTask_t **ppxTimerTaskTCBBuffer, StackType_t **ppxTimerTaskStackBuffer, uint32_t *pulTimerTaskStackSize );

/* Hook prototypes */
void configureTimerForRunTimeStats(void);
unsigned long getRunTimeCounterValue(void);

#ifndef XC_FREERTOS_MAKE_FLAG
/* USER CODE END FunctionPrototypes */

void RGB_Task_Proc(void const * argument);
void Key_Task_Proc(void const * argument);
void K210_Task_Proc(void const * argument);
void OpenMV_Task_Proc(void const * argument);
void Sbus_Task_Proc(void const * argument);
void Servo_Task_Proc(void const * argument);
void MPU6050_Task_Proc(void const * argument);
void PC_Task_Proc(void const * argument);
void LCD_Task_Proc(void const * argument);
void Buzzer_Task_Proc(void const * argument);
void Flash_Task_Proc(void const * argument);
void Motor_Task_Proc(void const * argument);
void Encoder_Task_Proc(void const * argument);
void Ble_Task_Proc(void const * argument);

void MX_FREERTOS_Init(void); /* (MISRA C 2004 rule 8.1) */

/* GetIdleTaskMemory prototype (linked to static allocation support) */
void vApplicationGetIdleTaskMemory( StaticTask_t **ppxIdleTaskTCBBuffer, StackType_t **ppxIdleTaskStackBuffer, uint32_t *pulIdleTaskStackSize );

/* GetTimerTaskMemory prototype (linked to static allocation support) */
void vApplicationGetTimerTaskMemory( StaticTask_t **ppxTimerTaskTCBBuffer, StackType_t **ppxTimerTaskStackBuffer, uint32_t *pulTimerTaskStackSize );

/* Hook prototypes */
void configureTimerForRunTimeStats(void);
unsigned long getRunTimeCounterValue(void);

/* USER CODE BEGIN 1 */
#endif
/* Functions needed when configGENERATE_RUN_TIME_STATS is on */

//void TaskFunction(void *pvParameters)
//{
//    vTaskSetApplicationTaskTag(NULL, __LINE__); // ���������ǩ
//    // �������������
//}

__weak void configureTimerForRunTimeStats(void)
{
	HAL_TIM_Base_Start_IT(&htim13);
	TIM12Count = 0;
}

__weak unsigned long getRunTimeCounterValue(void)
{
	return TIM12Count;
}
/* USER CODE END 1 */

/* USER CODE BEGIN GET_IDLE_TASK_MEMORY */
static StaticTask_t xIdleTaskTCBBuffer;
static StackType_t xIdleStack[configMINIMAL_STACK_SIZE];

void vApplicationGetIdleTaskMemory( StaticTask_t **ppxIdleTaskTCBBuffer, StackType_t **ppxIdleTaskStackBuffer, uint32_t *pulIdleTaskStackSize )
{
  *ppxIdleTaskTCBBuffer = &xIdleTaskTCBBuffer;
  *ppxIdleTaskStackBuffer = &xIdleStack[0];
  *pulIdleTaskStackSize = configMINIMAL_STACK_SIZE;
  /* place for user code */
}
/* USER CODE END GET_IDLE_TASK_MEMORY */

/* USER CODE BEGIN GET_TIMER_TASK_MEMORY */
static StaticTask_t xTimerTaskTCBBuffer;
static StackType_t xTimerStack[configTIMER_TASK_STACK_DEPTH];

void vApplicationGetTimerTaskMemory( StaticTask_t **ppxTimerTaskTCBBuffer, StackType_t **ppxTimerTaskStackBuffer, uint32_t *pulTimerTaskStackSize )
{
  *ppxTimerTaskTCBBuffer = &xTimerTaskTCBBuffer;
  *ppxTimerTaskStackBuffer = &xTimerStack[0];
  *pulTimerTaskStackSize = configTIMER_TASK_STACK_DEPTH;
  /* place for user code */
}
/* USER CODE END GET_TIMER_TASK_MEMORY */

void MX_FREERTOS_Init(void) {

  /* USER CODE BEGIN RTOS_QUEUES */
  /* add queues, ... */

  printf("rtos loading...........\r\n");
	printf("\\   |   /\r\n");
	printf("-  xcjk  -\r\n");
	printf("/    |   \\\r\n");
  /* USER CODE END RTOS_QUEUES */

  /* Create the thread(s) */
  /* definition and creation of RGBTask */
  osThreadDef(RGBTask, RGB_Task_Proc, osPriorityIdle, 0, 128);
  RGBTaskHandle = osThreadCreate(osThread(RGBTask), NULL);

  /* definition and creation of KeyTask */
  osThreadDef(KeyTask, Key_Task_Proc, osPriorityIdle, 0, 128);
  KeyTaskHandle = osThreadCreate(osThread(KeyTask), NULL);

  /* definition and creation of K210Task */
  osThreadDef(K210Task, K210_Task_Proc, osPriorityIdle, 0, 128);
  K210TaskHandle = osThreadCreate(osThread(K210Task), NULL);

  /* definition and creation of OpenMVTask */
  osThreadDef(OpenMVTask, OpenMV_Task_Proc, osPriorityIdle, 0, 128);
  OpenMVTaskHandle = osThreadCreate(osThread(OpenMVTask), NULL);

  /* definition and creation of SbusTask */
  osThreadDef(SbusTask, Sbus_Task_Proc, osPriorityIdle, 0, 128);
  SbusTaskHandle = osThreadCreate(osThread(SbusTask), NULL);

  /* definition and creation of ServoTask */
  osThreadDef(ServoTask, Servo_Task_Proc, osPriorityIdle, 0, 128);
  ServoTaskHandle = osThreadCreate(osThread(ServoTask), NULL);

  /* definition and creation of MPU6050Task */
  osThreadDef(MPU6050Task, MPU6050_Task_Proc, osPriorityIdle, 0, 256);
  MPU6050TaskHandle = osThreadCreate(osThread(MPU6050Task), NULL);

  /* definition and creation of PCTask */
  osThreadDef(PCTask, PC_Task_Proc, osPriorityIdle, 0, 128);
  PCTaskHandle = osThreadCreate(osThread(PCTask), NULL);

  /* definition and creation of LCDTask */
  osThreadDef(LCDTask, LCD_Task_Proc, osPriorityIdle, 0, 256);
  LCDTaskHandle = osThreadCreate(osThread(LCDTask), NULL);

  /* definition and creation of BuzzerTask */
  osThreadDef(BuzzerTask, Buzzer_Task_Proc, osPriorityIdle, 0, 128);
  BuzzerTaskHandle = osThreadCreate(osThread(BuzzerTask), NULL);

  /* definition and creation of FlashTask */
  osThreadDef(FlashTask, Flash_Task_Proc, osPriorityIdle, 0, 128);
  FlashTaskHandle = osThreadCreate(osThread(FlashTask), NULL);

  /* definition and creation of MotorTask */
  osThreadDef(MotorTask, Motor_Task_Proc, osPriorityIdle, 0, 128);
  MotorTaskHandle = osThreadCreate(osThread(MotorTask), NULL);

  /* definition and creation of EncoderTask */
  osThreadDef(EncoderTask, Encoder_Task_Proc, osPriorityIdle, 0, 128);
  EncoderTaskHandle = osThreadCreate(osThread(EncoderTask), NULL);

  /* definition and creation of BleTask */
  osThreadDef(BleTask, Ble_Task_Proc, osPriorityIdle, 0, 128);
  BleTaskHandle = osThreadCreate(osThread(BleTask), NULL);

  /* USER CODE BEGIN RTOS_THREADS */
  /* add threads, ... */

		if(RGBTaskHandle != NULL)
	{ printf("rgb_task_creat_sucess!\r\n"); }

	if(BuzzerTaskHandle != NULL)
	{ printf("buzzer_task_creat_sucess!\r\n"); }

	if(FlashTaskHandle != NULL)
	{ printf("flash_task_creat_sucess!\r\n"); }

	if(LCDTaskHandle != NULL)
	{ printf("lcd_task_creat_sucess!\r\n"); }

	if(KeyTaskHandle != NULL)
	{ printf("key_task_creat_sucess!\r\n"); }

	if(K210TaskHandle != NULL)
	{ printf("k210_task_creat_sucess!\r\n"); }

	if(OpenMVTaskHandle != NULL)
	{ printf("openmv_task_creat_sucess!\r\n"); }

	if(PCTaskHandle != NULL)
	{ printf("pc_task_creat_sucess!\r\n"); }

	if(SbusTaskHandle != NULL)
	{ printf("sbus_task_creat_sucess!\r\n"); }

	if(ServoTaskHandle != NULL)
	{ printf("servo_task_creat_sucess!\r\n"); }

	if(MotorTaskHandle != NULL)
	{ printf("motor_task_creat_sucess!\r\n"); }    //ָʾ��ӡ�Ƿ�����

	if(EncoderTaskHandle != NULL)
	{ printf("Encoder_task_creat_sucess!\r\n"); }    //ָʾ��ӡ�Ƿ�����

	if(MPU6050TaskHandle != NULL)
	{ printf("MPU6050_task_creat_sucess!\r\n"); }    //ָʾ��ӡ�Ƿ�����

    printf("  /\\_/\\  \r\n");
    printf(" ( o.o ) \r\n");
    printf("  > ^ <  \r\n");
	printf(" �ǳ�ף��ʹ��һ·˳�磡(�Σ�����)   \r\n");
  /* USER CODE END RTOS_THREADS */

}

/* USER CODE BEGIN Header_RGB_Task_Proc */
#ifndef XC_FREERTOS_MAKE_FLAG
/**
  * @brief  Function implementing the RGBTask thread.
  * @param  argument: Not used
  * @retval None
  */
/* USER CODE END Header_RGB_Task_Proc */
void RGB_Task_Proc(void const * argument)
{
  for(;;)
  {
    osDelay(1);
  }
}

void Key_Task_Proc(void const * argument)
{
  for(;;)
  {
    osDelay(1);
  }
}

void K210_Task_Proc(void const * argument)
{
  for(;;)
  {
    osDelay(1);
  }
}

void OpenMV_Task_Proc(void const * argument)
{
  for(;;)
  {
    osDelay(1);
  }
}

void Sbus_Task_Proc(void const * argument)
{
  for(;;)
  {
    osDelay(1);
  }
}

void Servo_Task_Proc(void const * argument)
{
  for(;;)
  {
    osDelay(1);
  }
}

void MPU6050_Task_Proc(void const * argument)
{
  for(;;)
  {
    osDelay(1);
  }
}

void PC_Task_Proc(void const * argument)
{
  for(;;)
  {
    osDelay(1);
  }
}

void LCD_Task_Proc(void const * argument)
{
  for(;;)
  {
    osDelay(1);
  }
}

void Buzzer_Task_Proc(void const * argument)
{
  for(;;)
  {
    osDelay(1);
  }
}

void Flash_Task_Proc(void const * argument)
{
  for(;;)
  {
    osDelay(1);
  }
}

void Motor_Task_Proc(void const * argument)
{
  for(;;)
  {
    osDelay(1);
  }
}

void Encoder_Task_Proc(void const * argument)
{
  for(;;)
  {
    osDelay(1);
  }
}

void Ble_Task_Proc(void const * argument)
{
  for(;;)
  {
    osDelay(1);
  }
}

/* USER CODE BEGIN Application */
#endif
/* USER CODE END Application */
